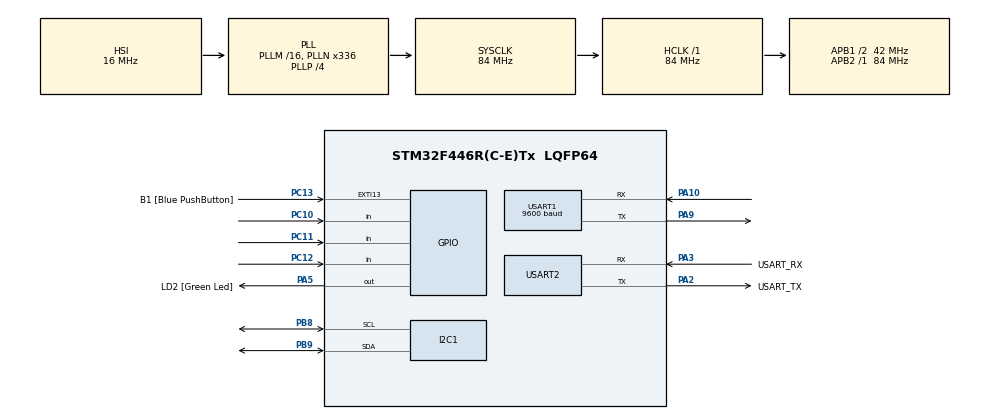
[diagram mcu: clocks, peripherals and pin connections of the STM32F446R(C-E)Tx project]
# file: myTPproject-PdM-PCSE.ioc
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Mcu.Family=STM32F4
Mcu.Name=STM32F446R(C-E)Tx
Mcu.Package=LQFP64
NVIC.PriorityGroup=NVIC_PRIORITYGROUP_0
PA10.Mode=Asynchronous
PA10.Signal=USART1_RX
PA13.GPIO_Label=TMS
PA13.Mode=Serial_Wire
PA13.Signal=SYS_JTMS-SWDIO
PA14.GPIO_Label=TCK
PA14.Mode=Serial_Wire
PA14.Signal=SYS_JTCK-SWCLK
PA2.GPIO_Label=USART_TX
PA2.Mode=Asynchronous
PA2.Signal=USART2_TX
PA3.GPIO_Label=USART_RX
PA3.Mode=Asynchronous
PA3.Signal=USART2_RX
PA5.GPIO_Label=LD2 [Green Led]
PA5.Signal=GPIO_Output
PA9.Mode=Asynchronous
PA9.Signal=USART1_TX
PB3.GPIO_Label=SWO
PB3.Signal=SYS_JTDO-SWO
PB8.Mode=I2C
PB8.Signal=I2C1_SCL
PB9.Mode=I2C
PB9.Signal=I2C1_SDA
PC10.Signal=GPIO_Input
PC11.Signal=GPIO_Input
PC12.Signal=GPIO_Input
PC13.GPIO_Label=B1 [Blue PushButton]
PC13.GPIO_ModeDefaultEXTI=GPIO_MODE_IT_FALLING
PC13.Signal=GPXTI13
PC14-OSC32_IN.Mode=LSE-External-Oscillator
PC14-OSC32_IN.Signal=RCC_OSC32_IN
PC15-OSC32_OUT.Mode=LSE-External-Oscillator
PC15-OSC32_OUT.Signal=RCC_OSC32_OUT
PH0-OSC_IN.Mode=HSE-External-Oscillator
PH0-OSC_IN.Signal=RCC_OSC_IN
PH1-OSC_OUT.Mode=HSE-External-Oscillator
PH1-OSC_OUT.Signal=RCC_OSC_OUT
ProjectManager.HeapSize=0x200
ProjectManager.StackSize=0x400
ProjectManager.TargetToolchain=STM32CubeIDE
RCC.48MHZClocksFreq_Value=84000000
RCC.AHBFreq_Value=84000000
RCC.APB1CLKDivider=RCC_HCLK_DIV2
RCC.APB1Freq_Value=42000000
RCC.APB1TimFreq_Value=84000000
RCC.APB2Freq_Value=84000000
RCC.APB2TimFreq_Value=84000000
RCC.CortexFreq_Value=84000000
RCC.FLatency-AdvancedSettings=FLASH_LATENCY_2
RCC.HCLKFreq_Value=84000000
RCC.HSE_VALUE=8000000
RCC.HSI_VALUE=16000000
RCC.PLLN=336
RCC.PLLP=RCC_PLLP_DIV4
RCC.SYSCLKFreq_VALUE=84000000
RCC.SYSCLKSource=RCC_SYSCLKSOURCE_PLLCLK
RCC.USBFreq_Value=168000000
RCC.VCOOutputFreq_Value=336000000
USART1.BaudRate=9600
USART1.VirtualMode=VM_ASYNC
USART2.VirtualMode=VM_ASYNC
board=NUCLEO-F446RE

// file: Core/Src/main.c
/* USER CODE BEGIN Header */
/**
  ******************************************************************************
  * @file           : main.c
  * @brief          : Main program body
  ******************************************************************************
  * @attention
  *
  * Copyright (c) 2026 STMicroelectronics.
  * All rights reserved.
  *
  * This software is licensed under terms that can be found in the LICENSE file
  * in the root directory of this software component.
  * If no LICENSE file comes with this software, it is provided AS-IS.
  *
  ******************************************************************************
  */
/* USER CODE END Header */
#include "main.h"

/* USER CODE BEGIN Includes */
#include <API_mylcd_i2c.h>
#include <API_myRTC_i2c.h>
#include "API_myTC74.h"
#include <myPrinterUART.h>
#include <stdbool.h>
#include <stdio.h>
#include <string.h>

/* USER CODE END Includes */

I2C_HandleTypeDef hi2c1;

UART_HandleTypeDef huart1;
UART_HandleTypeDef huart2;

/* USER CODE BEGIN PV */

#define ONESECONDS   1000

static int8_t my_temperatura = 0;

/* USER CODE END PV */

void SystemClock_Config(void);
static void MX_GPIO_Init(void);
static void MX_USART2_UART_Init(void);
static void MX_I2C1_Init(void);
static void MX_USART1_UART_Init(void);
/* USER CODE BEGIN PFP */

// Redirigir printf a UART2 para monitoreo serial con Tera Term
int __io_putchar(int ch) {
  HAL_UART_Transmit(&huart2, (uint8_t *)&ch, 1, HAL_MAX_DELAY);
  return ch;
}
typedef bool bool_t;
bool_t readButton_Hora();
bool_t readButton_Fecha();
bool_t readButton_Temperatura();
bool_t readButton_Printer();

/* USER CODE END PFP */

int main(void)
{

  /* MCU Configuration--------------------------------------------------------*/

  /* Reset of all peripherals, Initializes the Flash interface and the Systick. */
  HAL_Init();

  /* Configure the system clock */
  SystemClock_Config();

  /* Initialize all configured peripherals */
  MX_GPIO_Init();
  MX_USART2_UART_Init();
  MX_I2C1_Init();
  MX_USART1_UART_Init();
  /* USER CODE BEGIN 2 */
   //set_time(00, 52, 8, 3, 22,4, 26);
   mylcd_init();

  // int8_t my_temperatura = 0;

   //monitore por serial y Tera term

   printf("Ingresando en Main despues de Inicializaciones...\r\n");
#define PORTGPIO GPIOC
#define BOTON_AZUL_HORA GPIO_PIN_13
#define BOTON_BLANCO_FECHA GPIO_PIN_11
#define BOTON_ROJO_TEMP GPIO_PIN_12
#define BOTON_NEGRO_PRINTER GPIO_PIN_10

  /* USER CODE END 2 */

  /* Infinite loop */
  /* USER CODE BEGIN WHILE */

  	typedef enum{
  	 INICIAL =0,
  	 LECTURA_TIEMPO_HORA,
	 LECTURA_TIEMPO_FECHA,
  	 LECTURA_TEMPERATURA,
	 IMPRESION_TIEMPO_TEMPERATURA,
  	 } mySequenceState_t;

  	mySequenceState_t myEstado_t;

  	myEstado_t = INICIAL;

  	 mylcd_clear ();

  while (1)
  {

    /* USER CODE END WHILE */

    /* USER CODE BEGIN 3 */
/*El pulsador negro tiene dos funciones, liberar las estados de hora,fecha y temperatura, asi como imprimir en papel
 * segun donde se encuentre ubicado es el comportamiento que tendra, cuando se encuentra en un estado que no es de imprimir
 * su compartimiento es para salir de ese estado y retornar al inicial
*/
	  switch (myEstado_t){

	  	  case INICIAL:
	  		  mylcd_put_cursor(LINE1);
	  		  mylcd_send_string("Azul -> Hora");
	  		  mylcd_put_cursor(LINE2);
	  		  mylcd_send_string("Blanco -> Fecha");
	  		  mylcd_put_cursor(LINE3);
	  		  mylcd_send_string("Rojo -> Temperatura");
	  		  mylcd_put_cursor(LINE4);
	  		  mylcd_send_string("Negro -> Imprimir");
	  		  HAL_Delay(ONESECONDS);

	  	    if (readButton_Hora()) {
	  	    	printf("Pin 13 Boton AZUL esta pulsado\r\n");
	  	    	myEstado_t = LECTURA_TIEMPO_HORA;
	  	        mylcd_clear();
	  	        break;
	  	    }
	  	    if (readButton_Fecha()) {
	  	    	printf("Pin 11 Boton Blanco esta pulsado\r\n");
	  	  	  	myEstado_t = LECTURA_TIEMPO_FECHA;
	  	  	  	mylcd_clear();
	  	  	  	break;
	  	  	}
	  	    if (readButton_Temperatura()) {
	  	    	printf("Pin 12 Boton ROJO esta pulsado\r\n");
	  	  	  	myEstado_t = LECTURA_TEMPERATURA;
	  	  	  	mylcd_clear();
	  	  	  	break;
	  	  	}
	  	    if (readButton_Printer()) {
	  	    	printf("Pin 10 Boton NEGRO esta pulsado\r\n");
	  	  	  	myEstado_t = IMPRESION_TIEMPO_TEMPERATURA;
	  	  	  	mylcd_clear();
	  	  	  	break;
	  	  	}

		  break;
	  	  case LECTURA_TIEMPO_HORA:

	  		   while(!readButton_Printer()){
	  			 get_time();
	  			 sprintf (data_buffer, "Hora: %02d:%02d:%02d", rtc_time.hour, rtc_time.minutes, rtc_time.seconds);
	  			 mylcd_put_cursor(LINE1);
	  			 mylcd_send_string(data_buffer);

	  		   }
	  		   mylcd_clear();
	  		   myEstado_t = INICIAL;

	  	  break;
	  	  case LECTURA_TIEMPO_FECHA:
	  		   get_time();
	  	  	   sprintf (data_buffer, "Fecha: %02d-%02d-20%02d", rtc_time.dayofmonth, rtc_time.month, rtc_time.year);
	  	  	   mylcd_put_cursor(LINE2);
	  	  	   mylcd_send_string(data_buffer);
	  		   while(!readButton_Printer()){

	  		   }
	  		   mylcd_clear();
	  		   myEstado_t = INICIAL;
	  	  break;
	  	  case LECTURA_TEMPERATURA:

	  		   while(!readButton_Printer()){
		  		   my_temperatura = get_temperature();

		  		   if (my_temperatura != -200) {

		  		   sprintf (data_buffer, "Temperatura: %d C", my_temperatura);
		  		   mylcd_put_cursor(LINE3);
		  		   mylcd_send_string(data_buffer);
		  		   }

	  		   }
	  		   mylcd_clear();
	  		   myEstado_t = INICIAL;
	  	  break;
	  	  case IMPRESION_TIEMPO_TEMPERATURA:
	  		   get_time();
	  		   sprintf (data_buffer, "Hora: %02d:%02d:%02d", rtc_time.hour, rtc_time.minutes, rtc_time.seconds);
	  		   Printer_PrintDateTime("La hora actual es:", data_buffer);
	  		   sprintf (data_buffer, "Fecha: %02d-%02d-20%02d", rtc_time.dayofmonth, rtc_time.month, rtc_time.year);

	  		   Printer_PrintDateTime("La fecha actual es:", data_buffer);
	  		   Printer_PrintString(PRINTER_FINAL_SPACE);
	  		   HAL_Delay(ONESECONDS);

	  		   my_temperatura = get_temperature();
	  		   if (my_temperatura != -200) {
	  			sprintf (data_buffer, "Temperatura: %d C", my_temperatura);
		  		Printer_PrintTemperature("La temperatura actual es:", data_buffer);
		  		Printer_PrintString(PRINTER_FINAL_SPACE);

	  		   }
	  		   HAL_Delay(ONESECONDS);

	  		   mylcd_put_cursor(LINE4);
	  		   mylcd_send_string("Imprimiendo  ....  !");
	  		   printf("Estado de IMPRESION Temperatura, Fecha y Hora\r\n");

	  		   HAL_Delay(ONESECONDS);
	  		   myEstado_t = INICIAL;
	  		   mylcd_clear();

	  	  break;

	  	  default:
	  		   printf("Estado default, Estado Erroneo\r\n");
	  		   mylcd_clear();
	  		   mylcd_put_cursor(LINE2);
	  		   mylcd_send_string("Estado Erroneo");
	  		   mylcd_put_cursor(LINE3);
	  		   mylcd_send_string("Oprima Reset");
	  		   HAL_Delay(ONESECONDS);
	  		   HAL_Delay(ONESECONDS);

	  }

  }
  /* USER CODE END 3 */
}

//funciones pàra lectura de botones

bool_t readButton_Hora() {
    return !HAL_GPIO_ReadPin(PORTGPIO, BOTON_AZUL_HORA);
}

bool_t readButton_Fecha() {
    return HAL_GPIO_ReadPin(PORTGPIO, BOTON_BLANCO_FECHA);
}

bool_t readButton_Temperatura(){
	return HAL_GPIO_ReadPin(PORTGPIO, BOTON_ROJO_TEMP);
}

bool_t readButton_Printer(){
	return HAL_GPIO_ReadPin(PORTGPIO, BOTON_NEGRO_PRINTER);
}

void SystemClock_Config(void)
{
  RCC_OscInitTypeDef RCC_OscInitStruct = {0};
  RCC_ClkInitTypeDef RCC_ClkInitStruct = {0};

  /** Configure the main internal regulator output voltage
  */
  __HAL_RCC_PWR_CLK_ENABLE();
  __HAL_PWR_VOLTAGESCALING_CONFIG(PWR_REGULATOR_VOLTAGE_SCALE3);

  /** Initializes the RCC Oscillators according to the specified parameters
  * in the RCC_OscInitTypeDef structure.
  */
  RCC_OscInitStruct.OscillatorType = RCC_OSCILLATORTYPE_HSI;
  RCC_OscInitStruct.HSIState = RCC_HSI_ON;
  RCC_OscInitStruct.HSICalibrationValue = RCC_HSICALIBRATION_DEFAULT;
  RCC_OscInitStruct.PLL.PLLState = RCC_PLL_ON;
  RCC_OscInitStruct.PLL.PLLSource = RCC_PLLSOURCE_HSI;
  RCC_OscInitStruct.PLL.PLLM = 16;
  RCC_OscInitStruct.PLL.PLLN = 336;
  RCC_OscInitStruct.PLL.PLLP = RCC_PLLP_DIV4;
  RCC_OscInitStruct.PLL.PLLQ = 2;
  RCC_OscInitStruct.PLL.PLLR = 2;
  if (HAL_RCC_OscConfig(&RCC_OscInitStruct) != HAL_OK)
  {
    Error_Handler();
  }

  /** Initializes the CPU, AHB and APB buses clocks
  */
  RCC_ClkInitStruct.ClockType = RCC_CLOCKTYPE_HCLK|RCC_CLOCKTYPE_SYSCLK
                              |RCC_CLOCKTYPE_PCLK1|RCC_CLOCKTYPE_PCLK2;
  RCC_ClkInitStruct.SYSCLKSource = RCC_SYSCLKSOURCE_PLLCLK;
  RCC_ClkInitStruct.AHBCLKDivider = RCC_SYSCLK_DIV1;
  RCC_ClkInitStruct.APB1CLKDivider = RCC_HCLK_DIV2;
  RCC_ClkInitStruct.APB2CLKDivider = RCC_HCLK_DIV1;

  if (HAL_RCC_ClockConfig(&RCC_ClkInitStruct, FLASH_LATENCY_2) != HAL_OK)
  {
    Error_Handler();
  }
}

static void MX_I2C1_Init(void)
{

  hi2c1.Instance = I2C1;
  hi2c1.Init.ClockSpeed = 100000;
  hi2c1.Init.DutyCycle = I2C_DUTYCYCLE_2;
  hi2c1.Init.OwnAddress1 = 0;
  hi2c1.Init.AddressingMode = I2C_ADDRESSINGMODE_7BIT;
  hi2c1.Init.DualAddressMode = I2C_DUALADDRESS_DISABLE;
  hi2c1.Init.OwnAddress2 = 0;
  hi2c1.Init.GeneralCallMode = I2C_GENERALCALL_DISABLE;
  hi2c1.Init.NoStretchMode = I2C_NOSTRETCH_DISABLE;
  if (HAL_I2C_Init(&hi2c1) != HAL_OK)
  {
    Error_Handler();
  }

}

static void MX_USART1_UART_Init(void)
{

  huart1.Instance = USART1;
  huart1.Init.BaudRate = 9600;
  huart1.Init.WordLength = UART_WORDLENGTH_8B;
  huart1.Init.StopBits = UART_STOPBITS_1;
  huart1.Init.Parity = UART_PARITY_NONE;
  huart1.Init.Mode = UART_MODE_TX_RX;
  huart1.Init.HwFlowCtl = UART_HWCONTROL_NONE;
  huart1.Init.OverSampling = UART_OVERSAMPLING_16;
  if (HAL_UART_Init(&huart1) != HAL_OK)
  {
    Error_Handler();
  }

}

static void MX_USART2_UART_Init(void)
{

  huart2.Instance = USART2;
  huart2.Init.BaudRate = 115200;
  huart2.Init.WordLength = UART_WORDLENGTH_8B;
  huart2.Init.StopBits = UART_STOPBITS_1;
  huart2.Init.Parity = UART_PARITY_NONE;
  huart2.Init.Mode = UART_MODE_TX_RX;
  huart2.Init.HwFlowCtl = UART_HWCONTROL_NONE;
  huart2.Init.OverSampling = UART_OVERSAMPLING_16;
  if (HAL_UART_Init(&huart2) != HAL_OK)
  {
    Error_Handler();
  }

}

static void MX_GPIO_Init(void)
{
  GPIO_InitTypeDef GPIO_InitStruct = {0};

  /* GPIO Ports Clock Enable */
  __HAL_RCC_GPIOC_CLK_ENABLE();
  __HAL_RCC_GPIOH_CLK_ENABLE();
  __HAL_RCC_GPIOA_CLK_ENABLE();
  __HAL_RCC_GPIOB_CLK_ENABLE();

  /*Configure GPIO pin Output Level */
  HAL_GPIO_WritePin(LD2_GPIO_Port, LD2_Pin, GPIO_PIN_RESET);

  /*Configure GPIO pin : B1_Pin */
  GPIO_InitStruct.Pin = B1_Pin;
  GPIO_InitStruct.Mode = GPIO_MODE_IT_FALLING;
  GPIO_InitStruct.Pull = GPIO_NOPULL;
  HAL_GPIO_Init(B1_GPIO_Port, &GPIO_InitStruct);

  /*Configure GPIO pin : LD2_Pin */
  GPIO_InitStruct.Pin = LD2_Pin;
  GPIO_InitStruct.Mode = GPIO_MODE_OUTPUT_PP;
  GPIO_InitStruct.Pull = GPIO_NOPULL;
  GPIO_InitStruct.Speed = GPIO_SPEED_FREQ_LOW;
  HAL_GPIO_Init(LD2_GPIO_Port, &GPIO_InitStruct);

  /*Configure GPIO pins : PC10 PC11 PC12 */
  GPIO_InitStruct.Pin = GPIO_PIN_10|GPIO_PIN_11|GPIO_PIN_12;
  GPIO_InitStruct.Mode = GPIO_MODE_INPUT;
  GPIO_InitStruct.Pull = GPIO_NOPULL;
  HAL_GPIO_Init(GPIOC, &GPIO_InitStruct);

}

void Error_Handler(void)
{
  __disable_irq();
  while (1)
  {
  }
}
